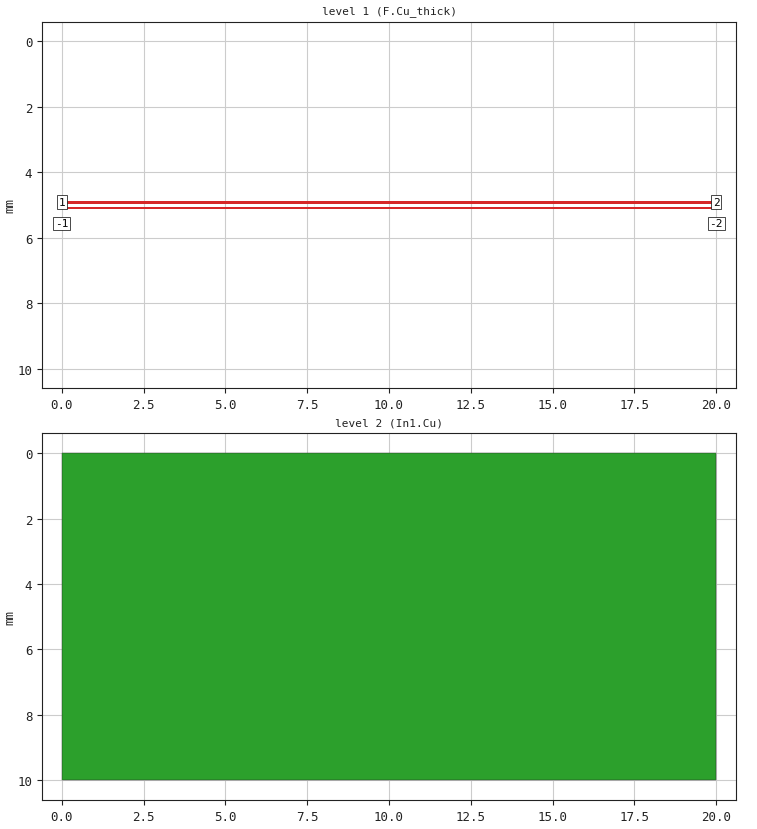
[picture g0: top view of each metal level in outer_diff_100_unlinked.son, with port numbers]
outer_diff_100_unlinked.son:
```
FTYP SONPROJ 19 ! Sonnet Project File
VER 18.52
HEADER
LIC antikernel2.1.51176
DAT 02/26/2022 12:02:33
BUILT_BY_CREATED xgeom 18.52 11/18/2021 20:28:07
BUILT_BY_SAVED sonnet 18.52
MDATE 02/26/2022 12:02:33
HDATE 02/26/2022 12:02:33
END HEADER
DIM
ANG DEG
CAP PF
CON /OH
FREQ GHZ
IND NH
LNG MM
RES OH
END DIM
CONTROL
VARSWP
OPTIONS  -dj
SPEED 0
CACHE_ABS 2
Q_ACC N
END CONTROL
GEO
DRP1 LEFT NONE 2
DRP1 RIGHT NONE 2
TMET "Free Space" 0 FREESPACE 376.7303136 0 0 0
BMET "Free Space" 0 FREESPACE 376.7303136 0 0 0
MET "Copper_1oz_thin" 1 NOR 58000000 0.5 0.035 
MET "Copper_1oz_thick" 2 TMM 58000000 0.5 0.035 2
MET "Copper_1oz_thick_down" 3 TMM 58000000 0.5 0.035 2 CDVY TDWN
MET "Copper_0.5oz_thin" 4 NOR 58000000 0.5 0.017 
MET "Copper_0.5oz_thick" 12 TMM 58000000 0.5 0.017 2
MET "Copper_0.5oz_thick_down" 5 TMM 58000000 0.5 0.017 2 CDVY TDWN
BOX 10 20 10 4000 2000 20 0
      5 1 1 0 0 0 0 "Air"
      0.04 3.5 1 0.025 0 0 0 "Soldermask"
      0.075 3.9 1 0.008 0 0 0 "TU-872_SLK"
      0.1 3.9 1 0.008 0 0 0 "TU-872_SLK"
      0.143 3.9 1 0.008 0 0 0 "TU-872_SLK"
      0.7 4.49 1 0.016 0 0 0 "Shengyi_S1000-2M"
      0.143 3.9 1 0.008 0 0 0 "TU-872_SLK"
      0.1 3.9 1 0.008 0 0 0 "TU-872_SLK"
      0.075 3.9 1 0.008 0 0 0 "TU-872_SLK"
      0.04 3.5 1 0.025 0 0 0 "Soldermask"
      5 1 1 0 0 0 0 "Air"
TECHLAY METAL F.Cu_thin <UNSPECIFIED> -1 0 CAD F.Cu_thin drawing 
1 0 0 N 246 1 1 100 100 0 0 0 Y
END
END
TECHLAY METAL F.Cu_thick <UNSPECIFIED> -2 0 CAD F.Cu_thick drawing 
1 0 1 N 248 1 1 100 100 0 0 0 Y
END
END
TECHLAY VIA Via1 <UNSPECIFIED> -13 0 CAD Via1 drawing 
VIA POLYGON
1 0 -1 N 254 1 1 100 100 0 0 0 Y
TOLEVEL 8 RING NOCOVERS
END
END
TECHLAY METAL In1.Cu <UNSPECIFIED> -3 0 CAD In1.Cu drawing 
2 0 0 N 257 1 1 100 100 0 0 0 Y
END
END
TECHLAY METAL In2.Cu_thin <UNSPECIFIED> -4 0 CAD In2.Cu drawing 
3 0 3 N 260 1 1 100 100 0 0 0 Y
END
END
TECHLAY METAL In2.Cu_thick <UNSPECIFIED> -5 0 CAD In2.Cu_thick drawing 
3 0 4 N 262 1 1 100 100 0 0 0 Y
END
END
TECHLAY METAL In3.Cu <UNSPECIFIED> -6 0 CAD In3.Cu drawing 
4 0 0 N 265 1 1 100 100 0 0 0 Y
END
END
TECHLAY METAL In4.Cu <UNSPECIFIED> -7 0 CAD In4.Cu drawing 
5 0 0 N 270 1 1 100 100 0 0 0 Y
END
END
TECHLAY METAL In5.Cu_thin <UNSPECIFIED> -8 0 CAD In5.Cu drawing 
6 0 3 N 273 1 1 100 100 0 0 0 Y
END
END
TECHLAY METAL In5.Cu_thick <UNSPECIFIED> -9 0 CAD In5.Cu_thick drawing 
6 0 5 N 275 1 1 100 100 0 0 0 Y
END
END
TECHLAY METAL In6.Cu <UNSPECIFIED> -10 0 CAD In6.Cu drawing 
7 0 0 N 278 1 1 100 100 0 0 0 Y
END
END
TECHLAY METAL B.Cu_thin <UNSPECIFIED> -11 0 CAD B.Cu_thin drawing 
8 0 0 N 281 1 1 100 100 0 0 0 Y
END
END
TECHLAY METAL B.Cu_thick <UNSPECIFIED> -12 0 CAD B.Cu_thick drawing 
8 0 2 N 283 1 1 100 100 0 0 0 Y
END
END
VALVAR WIDTH LNG 0.14 "Dim. Param."
VALVAR CORE_ER NONE "table1(\"core_er.csv\",FREQ)" "Variable set in material file"
VALVAR CORE_DF NONE "table1(\"core_df.csv\",FREQ)" "Variable set in material file"
VALVAR PREPREG_DF NONE "table1(\"prepreg_df.csv\",FREQ)" "Variable set in material file"
VALVAR PREPREG_ER NONE "table1(\"prepreg_er.csv\",FREQ)" "Variable set in material file"
VALVAR SPACE LNG 0.09 "Dim. Param."
DIM STD YDIR -1
POS -0.176990271 -0.09526466207
NOM 0.09
REF1 POLY 104 1
3
REF2 POLY 104 1
0
END
DIM STD YDIR -1
POS -0.03523847314 -0.06383156934
NOM 0.09
REF1 POLY 228 1
2
REF2 POLY 228 1
1
END
LORGN 0 10 U 
POR1 BOX
POLY 104 1
3
1 100 0 0 0 0 4.915 
POR1 BOX
POLY 104 1
1
2 100 0 0 0 20 4.915 
POR1 BOX
POLY 228 1
3
-2 100 0 0 0 20 5.095 
POR1 BOX
POLY 228 1
1
-1 100 0 0 0 0 5.095 
NUM 3
1 5 1 N 104 1 1 100 100 0 0 0 Y
TLAYNAM F.Cu_thick INH
0 4.87
20 4.87
20 4.96
0 4.96
0 4.87
END
1 5 1 N 228 1 1 100 100 0 0 0 Y
TLAYNAM F.Cu_thick INH
20 5.05
0 5.05
0 5.14
20 5.14
20 5.05
END
2 5 0 N 103 1 1 100 100 0 0 0 Y
TLAYNAM In1.Cu INH
0 0
20 0
20 10
0 10
0 0
END
END GEO
OPT
MAX 100
END OPT
VARSWP
ENABLED Y
FREQ Y AY ABS_ENTRY 0.001 16.0 -1 300 
VAR SPACE Y 0.1 0.2 0.02
END
END VARSWP
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```
